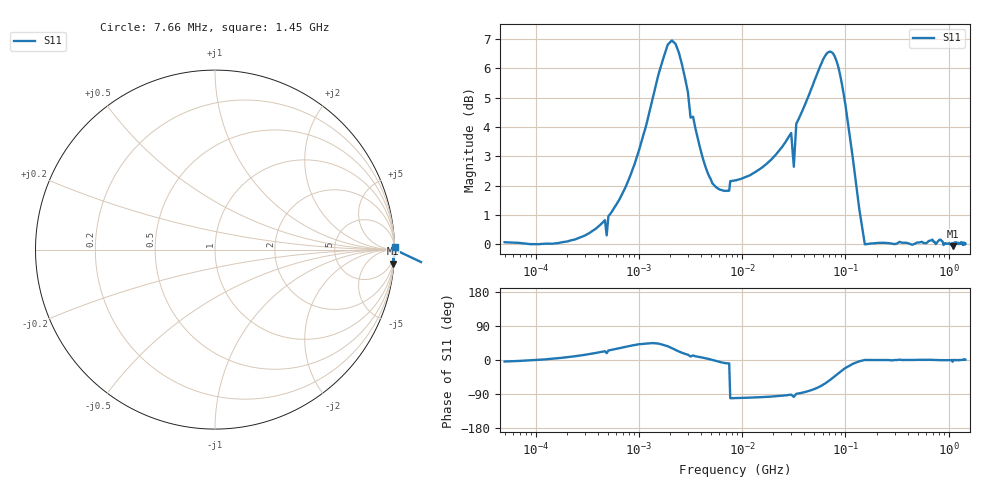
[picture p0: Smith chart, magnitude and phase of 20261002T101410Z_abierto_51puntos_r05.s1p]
! piloto_saltos / abierto_51puntos / r05
# HZ S RI R 50
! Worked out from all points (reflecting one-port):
!   251 points, 50 kHz to 1.45 GHz, reference 50 ohm
!   lowest |S11| = -0.1 dB at 1.09 GHz (marker M1), VSWR 293.41, Z = 110 - j1.27e+03 ohm
!   phase of S11 starts at -4 deg and turns +5 deg over the sweep
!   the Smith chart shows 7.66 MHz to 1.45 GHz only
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50000  1.006 -0.0707
183000  1.003 0.1061
468000  1.011 0.4331
487000  0.9856 0.3193
506000  1.012 0.4732
658000  1.021 0.6301
1000000  1.081 0.9602
1540000  1.412 1.334
1900000  1.766 1.293
2440000  1.96 0.8049
3160000  1.623 0.2623
3340000  1.614 0.3441
5140000  1.271 0.00565
7480000  1.22 -0.1927
7660000  -0.2413 -1.259
8560000  -0.2361 -1.264
2.98e7  -0.0384 -1.548
3.16e7  -0.1711 -1.345
3.34e7  0.0195 -1.605
4.78e7  0.3675 -1.822
6.4e7  1.005 -1.842
7.3e7  1.367 -1.626
8.56e7  1.646 -1.135
1.18e8  1.378 -0.2451
1.54e8  1 0.000375
4.06e8  1.004 0.00334
1.09e9  0.9902 -0.0777
1.45e9  1.003 0.0153
